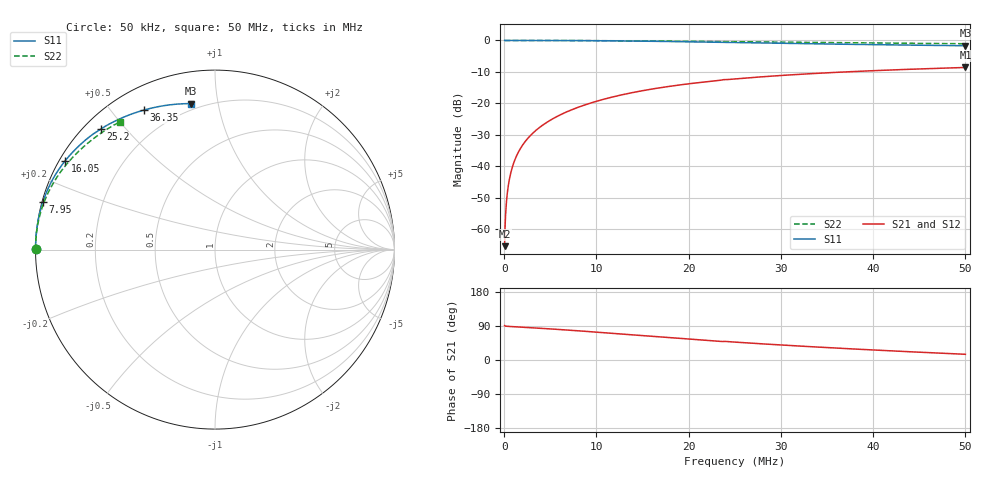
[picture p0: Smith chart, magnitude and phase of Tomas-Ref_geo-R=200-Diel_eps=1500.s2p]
! TOUCHSTONE file generated by CST MICROWAVE STUDIO
! Date and time: Fri Oct 07 02:29:29 2016
! Project name: tomas_icrh_linear_2016-plasma-Rdiel=200.cst
! Header version: 2015
! Port assignment regex: !\s*Touchstone port\s*([0-9]+)\s*=\s*CST MWS port\s*([0-9]+)\s*\(\"(.*)\"\)(\s*mode\s*([0-9]+))?.*
! Touchstone port assignment:
! Touchstone port 1 = CST MWS port 1 ("")
! Touchstone port 2 = CST MWS port 2 ("")
# MHZ S MA R 50
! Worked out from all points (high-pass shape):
!   1000 points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, 50 kHz to 50 MHz, reference 50 ohm
!   highest |S21| = -8.59 dB at 50 MHz (marker M1); lowest = -65.4 dB at 50 kHz (marker M2)
!   |S21| within 3 dB of the highest: 27.79 MHz to end of sweep
!   lowest |S11| = -1.7 dB at 50 MHz (marker M3), VSWR 10.39, Z = 8.23 + j41.8 ohm
!   |S11| at or under -10 dB: nowhere
!   |S22| runs from -1.0 to 0.0 dB; largest |S21 - S12| = 1.2e-05
!   S11 on the Smith chart (normalised r, x): 50 kHz: 0.00, +0.00; 7.95 MHz: 0.00, +0.13; 16.05 MHz: 0.02, +0.27; 25.2 MHz: 0.05, +0.43; 36.35 MHz: 0.09, +0.61; 50 MHz: 0.16, +0.84
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0.05  1 179.9  0.0005371 91.1  0.0005371 91.1  1 179.9
0.15  1 179.7  0.001633 89.6  0.001633 89.6  1 179.8
0.4  1 179.2  0.004367 88.8  0.004367 88.8  1 179.5
0.6  0.9999 178.8  0.006548 88.5  0.006548 88.5  1 179.3
0.8  0.9999 178.4  0.008724 88.2  0.008724 88.2  0.9999 179.0
1.05  0.9999 178.0  0.01144 87.8  0.01144 87.8  0.9999 178.7
1.35  0.9998 177.4  0.01469 87.4  0.01469 87.4  0.9999 178.4
1.75  0.9997 176.6  0.01901 86.8  0.01901 86.8  0.9998 177.9
2.75  0.9994 174.7  0.02977 85.4  0.02977 85.4  0.9995 176.7
4.1  0.9988 172.1  0.04425 83.5  0.04425 83.5  0.9989 175.0
5.8  0.9976 168.8  0.06262 80.8  0.06262 80.8  0.9979 173.0
7.95  0.9951 164.7  0.08589 77.2  0.08589 77.2  0.9959 170.4
8.4  0.9944 163.8  0.09074 76.4  0.09074 76.4  0.9954 169.8
11.85  0.9862 157.2  0.1273 70.1  0.1273 70.1  0.9901 165.7
16.05  0.9703 149.3  0.1691 62.4  0.1691 62.4  0.9809 160.7
16.7  0.9674 148.1  0.1752 61.2  0.1752 61.2  0.9792 160.0
25.05  0.9268 133.8  0.2446 47.2  0.2446 47.2  0.9554 150.7
25.2  0.926 133.5  0.2457 46.9  0.2457 46.9  0.9549 150.5
33.35  0.8854 121.2  0.297 35.0  0.297 35.0  0.9301 142.1
36.35  0.8723 116.9  0.313 31.0  0.313 31.0  0.9215 139.2
41.7  0.8515 109.7  0.3385 24.4  0.3385 24.4  0.9071 134.1
50  0.8244 99.3  0.372 15.1  0.372 15.1  0.887 126.6
